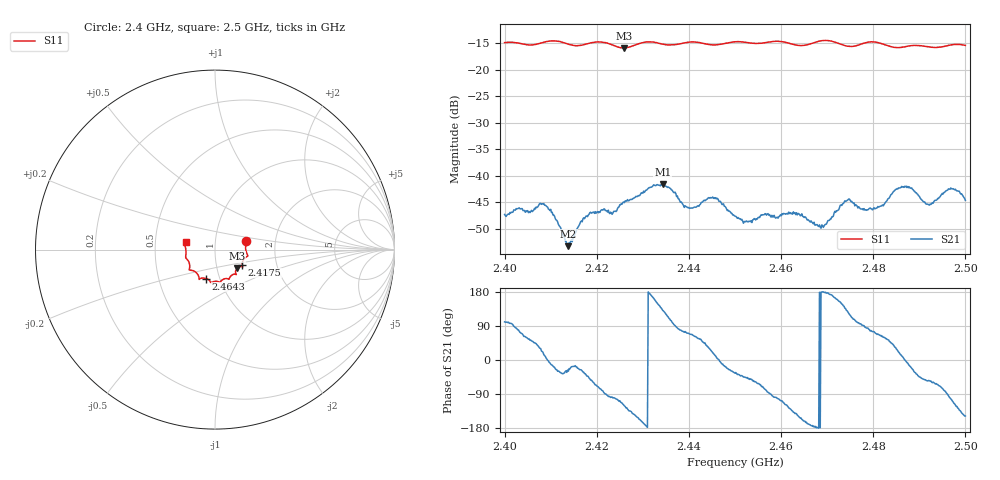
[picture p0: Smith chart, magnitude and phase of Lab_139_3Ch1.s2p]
# Hz S RI R 50
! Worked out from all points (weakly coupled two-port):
!   601 points, 2.4 GHz to 2.5 GHz, reference 50 ohm
!   highest |S21| = -41.53 dB at 2.4343 GHz (marker M1); lowest = -53.2 dB at 2.4138 GHz (marker M2)
!   lowest |S11| = -15.9 dB at 2.4258 GHz (marker M3), VSWR 1.38, Z = 62.3 - j13.2 ohm
!   |S11| at or under -10 dB: start of sweep to end of sweep
!   S12 and S22 are empty: the file has one direction only
!   S11 on the Smith chart (normalised r, x): 2.4 GHz: 1.41, +0.14; 2.4175 GHz: 1.34, -0.23; 2.4643 GHz: 0.86, -0.29; 2.5 GHz: 0.72, +0.06
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2.4e9  0.1729 0.0489  -0.0008 0.00425  0 0  0 0
2.408667e9  0.1801 -0.0264  0.00518 0.00109  0 0  0 0
2.413833e9  0.1677 -0.0457  0.00189 -0.00107  0 0  0 0
2.416667e9  0.1527 -0.0741  0.00336 -0.00166  0 0  0 0
2.4175e9  0.1517 -0.0834  0.00328 -0.00241  0 0  0 0
2.423833e9  0.1387 -0.0944  -0.000801 -0.00455  0 0  0 0
2.425833e9  0.1221 -0.1035  -0.00271 -0.00498  0 0  0 0
2.433333e9  0.1129 -0.1371  -0.00682 0.0045  0 0  0 0
2.434333e9  0.1068 -0.1368  -0.00548 0.00635  0 0  0 0
2.439333e9  0.08 -0.1609  0.00146 0.00493  0 0  0 0
2.445667e9  0.0505 -0.1633  0.00596 0.00131  0 0  0 0
2.45e9  0.0288 -0.1808  0.00343 -0.00237  0 0  0 0
2.464333e9  -0.0498 -0.161  -0.00376 -0.00193  0 0  0 0
2.466667e9  -0.0759 -0.1593  -0.00365 -0.000391  0 0  0 0
2.4695e9  -0.0884 -0.1662  -0.00346 0.000125  0 0  0 0
2.474333e9  -0.1001 -0.1327  -0.00375 0.0045  0 0  0 0
2.478333e9  -0.1377 -0.1148  0.000276 0.00477  0 0  0 0
2.483333e9  -0.1408 -0.09  0.00369 0.00487  0 0  0 0
2.486667e9  -0.1529 -0.0583  0.00777 0.000425  0 0  0 0
2.491833e9  -0.162 -0.0269  0.00306 -0.00444  0 0  0 0
2.496833e9  -0.1686 0.0263  -0.0017 -0.0075  0 0  0 0
2.5e9  -0.1637 0.0429  -0.00496 -0.00313  0 0  0 0
